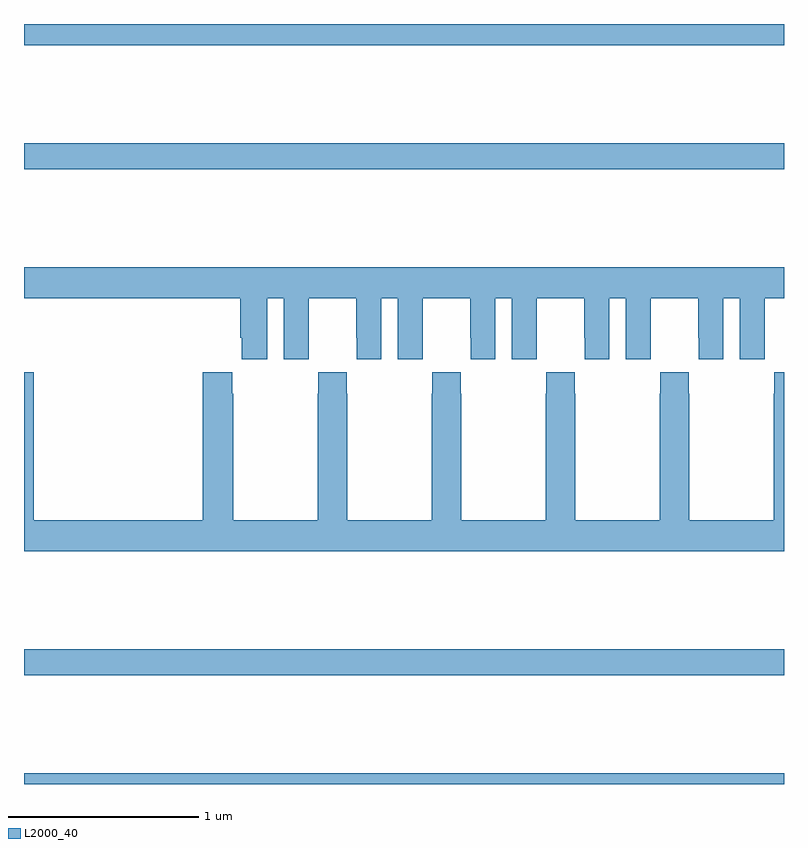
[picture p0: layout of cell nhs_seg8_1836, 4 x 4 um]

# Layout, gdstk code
import gdstk
lib = gdstk.Library(unit=1e-6, precision=1e-09)
def R(c, l, rs):  # rectangles x0, y0, x1, y1
    for r in rs: c.add(gdstk.rectangle(r[:2], r[2:], *l))
def P(c, l, *ps):  # polygons
    for p in ps: c.add(gdstk.Polygon(p, *l))
L2000_40 = (2000, 40)

nhs_seg8_1836 = lib.new_cell('nhs_seg8_1836')
R(nhs_seg8_1836, L2000_40, [(227,1157.9,231,1157.956), (227,1158.472,231,1158.608), (227,1161.136,231,1161.272), (227,1161.788,231,1161.9)])
P(nhs_seg8_1836, L2000_40, [(227,1160.456),(228.137,1160.456),(228.137,1160.248),(228.146,1160.248),(228.146,1160.136),(228.28,1160.136),(228.28,1160.456),(228.368,1160.456),(228.368,1160.136),(228.498,1160.136),(228.498,1160.248),(228.499,1160.248),(228.499,1160.456),(228.749,1160.456),(228.749,1160.248),(228.75,1160.248),(228.75,1160.136),(228.88,1160.136),(228.88,1160.456),(228.968,1160.456),(228.968,1160.136),(229.098,1160.136),(229.098,1160.248),(229.099,1160.248),(229.099,1160.456),(229.349,1160.456),(229.349,1160.248),(229.35,1160.248),(229.35,1160.136),(229.48,1160.136),(229.48,1160.456),(229.568,1160.456),(229.568,1160.136),(229.698,1160.136),(229.698,1160.248),(229.699,1160.248),(229.699,1160.456),(229.949,1160.456),(229.949,1160.248),(229.95,1160.248),(229.95,1160.136),(230.08,1160.136),(230.08,1160.456),(230.168,1160.456),(230.168,1160.136),(230.298,1160.136),(230.298,1160.248),(230.299,1160.248),(230.299,1160.456),(230.549,1160.456),(230.549,1160.248),(230.55,1160.248),(230.55,1160.136),(230.68,1160.136),(230.68,1160.456),(230.768,1160.456),(230.768,1160.136),(230.898,1160.136),(230.898,1160.248),(230.899,1160.248),(230.899,1160.456),(231,1160.456),(231,1160.62),(227,1160.62)],
  [(230.349,1160.068),(230.349,1159.955),(230.347,1159.955),(230.347,1159.288),(229.902,1159.288),(229.902,1159.955),(229.899,1159.955),(229.899,1160.068),(229.749,1160.068),(229.749,1159.955),(229.747,1159.955),(229.747,1159.288),(229.302,1159.288),(229.302,1159.955),(229.299,1159.955),(229.299,1160.068),(229.149,1160.068),(229.149,1159.955),(229.147,1159.955),(229.147,1159.288),(228.702,1159.288),(228.702,1159.955),(228.699,1159.955),(228.699,1160.068),(228.549,1160.068),(228.549,1159.955),(228.547,1159.955),(228.547,1159.288),(228.102,1159.288),(228.102,1159.955),(228.095,1159.955),(228.095,1160.068),(227.942,1160.068),(227.942,1159.288),(227.051,1159.288),(227.051,1160.068),(227,1160.068),(227,1159.124),(231,1159.124),(231,1160.068),(230.949,1160.068),(230.949,1159.955),(230.947,1159.955),(230.947,1159.288),(230.502,1159.288),(230.502,1159.955),(230.499,1159.955),(230.499,1160.068)])

lib.write_gds('nhs_seg8_1836.gds')
